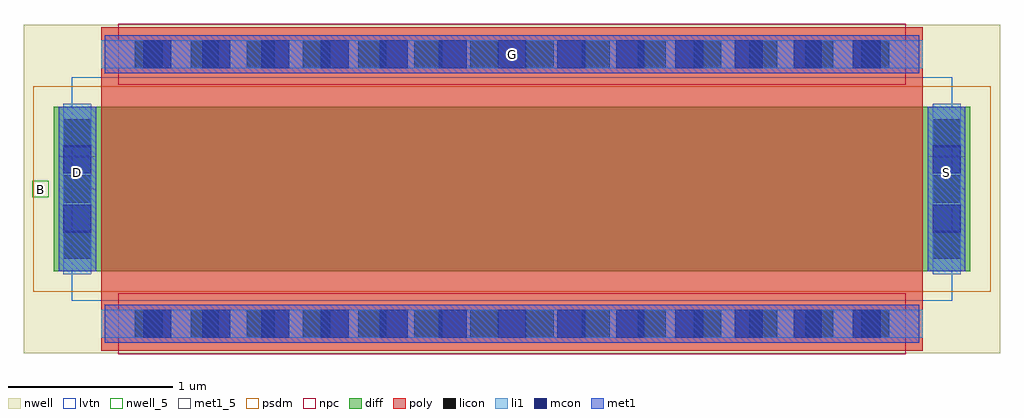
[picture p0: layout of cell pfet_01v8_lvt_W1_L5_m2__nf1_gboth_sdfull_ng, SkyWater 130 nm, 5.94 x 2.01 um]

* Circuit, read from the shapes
.subckt pfet_01v8_lvt_W1_L5_m2__nf1_gboth_sdfull_ng B D G S
XM1 S G D B sky130_fd_pr__pfet_01v8_lvt w=1 l=5
.ends

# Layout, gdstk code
import gdstk
lib = gdstk.Library(unit=1e-6, precision=1e-09)
def R(c, l, rs):  # rectangles x0, y0, x1, y1
    for r in rs: c.add(gdstk.rectangle(r[:2], r[2:], *l))
def A(c, l, x, y, w, h, nx, ny, dx, dy):  # array of equal rectangles
    R(c, l, [(x+i*dx, y+j*dy, x+i*dx+w, y+j*dy+h) for i in range(nx) for j in range(ny)])
nwell_5 = (64, 5)
nwell = (64, 20)
diff = (65, 20)
poly = (66, 20)
licon = (66, 44)
li1 = (67, 20)
mcon = (67, 44)
met1_5 = (68, 5)
met1 = (68, 20)
psdm = (94, 20)
npc = (95, 20)
lvtn = (125, 44)

sky130_fd_pr__pfet_01v8_ = lib.new_cell('sky130_fd_pr__pfet_01v8_lvt_EBXX8F')
R(sky130_fd_pr__pfet_01v8_, nwell, [(-2.97,-1,2.97,1)])
R(sky130_fd_pr__pfet_01v8_, diff, [(-2.79,-0.5,2.79,0.5)])
R(sky130_fd_pr__pfet_01v8_, poly, [(-2.5,-0.985,2.5,0.985)])
A(sky130_fd_pr__pfet_01v8_, licon, -2.295, -0.905, 0.17, 0.17, 14, 2, 0.34, 1.64)
A(sky130_fd_pr__pfet_01v8_, licon, -2.73, -0.425, 0.17, 0.17, 1, 3, 0, 0.34)
A(sky130_fd_pr__pfet_01v8_, licon, 2.56, -0.425, 0.17, 0.17, 1, 3, 0, 0.34)
R(sky130_fd_pr__pfet_01v8_, li1, [(-2.5,-0.905,2.5,-0.735), (-2.73,-0.52,-2.56,0.52), (2.56,-0.52,2.73,0.52), (-2.5,0.735,2.5,0.905)])
A(sky130_fd_pr__pfet_01v8_, mcon, -2.245, -0.905, 0.17, 0.17, 13, 2, 0.36, 1.64)
R(sky130_fd_pr__pfet_01v8_, mcon, [(-2.73,-0.265,-2.56,-0.095), (2.56,-0.265,2.73,-0.095), (-2.73,0.095,-2.56,0.265), (2.56,0.095,2.73,0.265)])
R(sky130_fd_pr__pfet_01v8_, met1, [(-2.48,-0.935,2.48,-0.705), (-2.76,-0.5,-2.53,0.5), (2.53,-0.5,2.76,0.5), (-2.48,0.705,2.48,0.935)])
R(sky130_fd_pr__pfet_01v8_, psdm, [(-2.915,-0.625,2.915,0.625)])
R(sky130_fd_pr__pfet_01v8_, npc, [(-2.395,-1.005,2.395,-0.635), (-2.395,0.635,2.395,1.005)])
R(sky130_fd_pr__pfet_01v8_, lvtn, [(-2.68,-0.68,2.68,0.68)])
sky130_fd_pr__pfet_01v8_.add(gdstk.Label('D', (-2.645,0), layer=67, texttype=5))
sky130_fd_pr__pfet_01v8_.add(gdstk.Label('S', (2.645,0), layer=67, texttype=5))
sky130_fd_pr__pfet_01v8_.add(gdstk.Label('G', (0,0.82), layer=67, texttype=5))

pfet_01v8_lvt_w1_l5_m2__ = lib.new_cell('pfet_01v8_lvt_W1_L5_m2__nf1_gboth_sdfull_ng')
R(pfet_01v8_lvt_w1_l5_m2__, nwell_5, [(0.05,0.95,0.15,1.05)])
R(pfet_01v8_lvt_w1_l5_m2__, nwell, [(0.05,0.95,0.15,1.05)])
R(pfet_01v8_lvt_w1_l5_m2__, met1_5, [(0.21,1,0.44,1.2), (5.5,1,5.73,1.2), (0.49,1.705,5.45,1.935)])
R(pfet_01v8_lvt_w1_l5_m2__, met1, [(0.21,1,0.44,1.2), (5.5,1,5.73,1.2), (0.49,1.705,5.45,1.935)])
pfet_01v8_lvt_w1_l5_m2__.add(gdstk.Reference(sky130_fd_pr__pfet_01v8_, (2.97,1)))
pfet_01v8_lvt_w1_l5_m2__.add(gdstk.Label('D', (0.325,1.1), layer=68, texttype=5))
pfet_01v8_lvt_w1_l5_m2__.add(gdstk.Label('S', (5.615,1.1), layer=68, texttype=5))
pfet_01v8_lvt_w1_l5_m2__.add(gdstk.Label('G', (2.97,1.82), layer=68, texttype=5))
pfet_01v8_lvt_w1_l5_m2__.add(gdstk.Label('B', (0.1,1), layer=64, texttype=5))

lib.write_gds('pfet_01v8_lvt_W1_L5_m2__nf1_gboth_sdfull_ng.gds')
